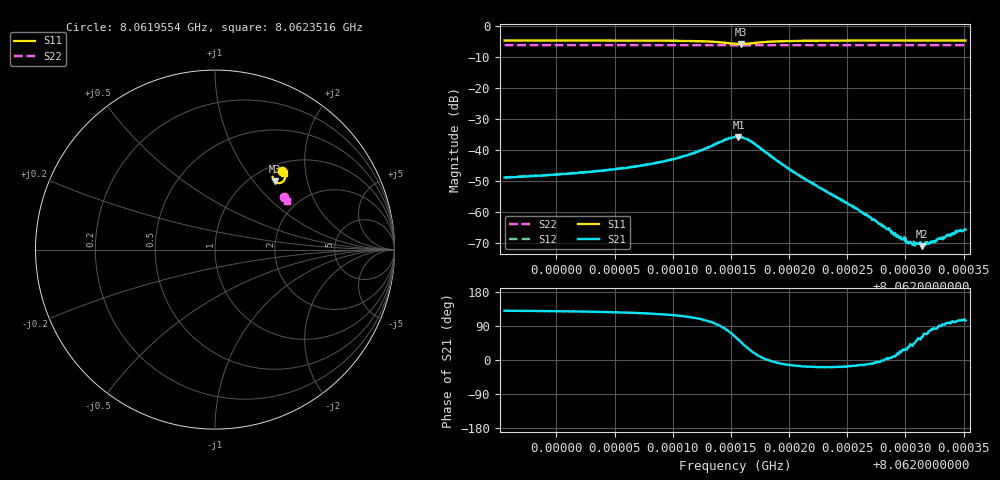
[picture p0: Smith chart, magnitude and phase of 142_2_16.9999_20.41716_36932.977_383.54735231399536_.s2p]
#  HZ  S  RI  R  50.00
! Rohde & Schwarz Vector Network Analyzer
! Rohde-Schwarz,ZNB20-2Port,1311601062101988,3.16
! Created: UTC 3/20/2024, 10:58:23 PM
! freq[Hz]  re:S11  im:S11  re:S21  im:S21  re:S12  im:S12  re:S22  im:S22
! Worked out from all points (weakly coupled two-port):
!   401 points, 8.0619554 GHz to 8.0623516 GHz, reference 50 ohm
!   highest |S21| = -35.91 dB at 8.0621565 GHz (marker M1); lowest = -71.1 dB at 8.062314 GHz (marker M2)
!   lowest |S11| = -5.9 dB at 8.0621585 GHz (marker M3), VSWR 3.04, Z = 63.2 + j64.3 ohm
!   |S11| at or under -10 dB: nowhere
!   |S22| runs from -6.4 to -6.3 dB; largest |S21 - S12| = 0.0012
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8.06195538e9  0.3735 0.438  -0.00228 0.00272  -0.00214 0.00288  0.387 0.2912
8.06202175e9  0.3792 0.4323  -0.00262 0.00336  -0.00244 0.00357  0.3891 0.2879
8.06206039e9  0.3834 0.427  -0.00293 0.00418  -0.00273 0.00441  0.3904 0.2857
8.06208812e9  0.3871 0.4208  -0.00321 0.00534  -0.00293 0.00559  0.3915 0.2842
8.06211487e9  0.3905 0.4089  -0.00328 0.00772  -0.0028 0.00798  0.3921 0.2824
8.06213864e9  0.3831 0.3835  -0.000688 0.0127  0.000187 0.013  0.3924 0.2803
8.0621535e9  0.3476 0.3715  0.00751 0.0141  0.00856 0.0137  0.391 0.2797
8.06215647e9  0.338 0.3753  0.00947 0.0129  0.0104 0.0124  0.3907 0.28
8.06215846e9  0.3322 0.3797  0.0105 0.0117  0.0115 0.011  0.3907 0.28
8.06216935e9  0.3219 0.4122  0.0121 0.00426  0.0123 0.00352  0.391 0.2811
8.06219511e9  0.3492 0.4392  0.0055 -0.00105  0.00551 -0.00138  0.3934 0.2807
8.06221987e9  0.3632 0.4391  0.00271 -0.000886  0.00268 -0.00106  0.3948 0.2793
8.06225752e9  0.3732 0.4358  0.00108 -0.000295  0.0011 -0.000377  0.3964 0.2773
8.06228624e9  0.3776 0.4333  0.000504 4.71e-05  0.000536 2.64e-05  0.3974 0.2757
8.06229318e9  0.3784 0.4327  0.000394 0.000125  0.0004 9.19e-05  0.3977 0.2754
8.06229813e9  0.3792 0.4324  0.000316 0.000167  0.000355 0.000115  0.3978 0.2751
8.06230308e9  0.3797 0.4318  0.000256 0.000173  0.000259 0.000173  0.3978 0.2749
8.06231398e9  0.3809 0.4313  0.000135 0.000243  0.000152 0.000254  0.3984 0.2742
8.06231596e9  0.3811 0.431  9.99e-05 0.00027  0.000122 0.000261  0.3984 0.2742
8.06232488e9  0.3819 0.4305  3.73e-05 0.00032  6.79e-05 0.000315  0.3987 0.2738
8.06234568e9  0.3838 0.429  -0.000119 0.000479  -0.000112 0.000469  0.3993 0.2726
8.06235162e9  0.3844 0.4286  -0.000126 0.000496  -0.00011 0.000524  0.3995 0.2723
